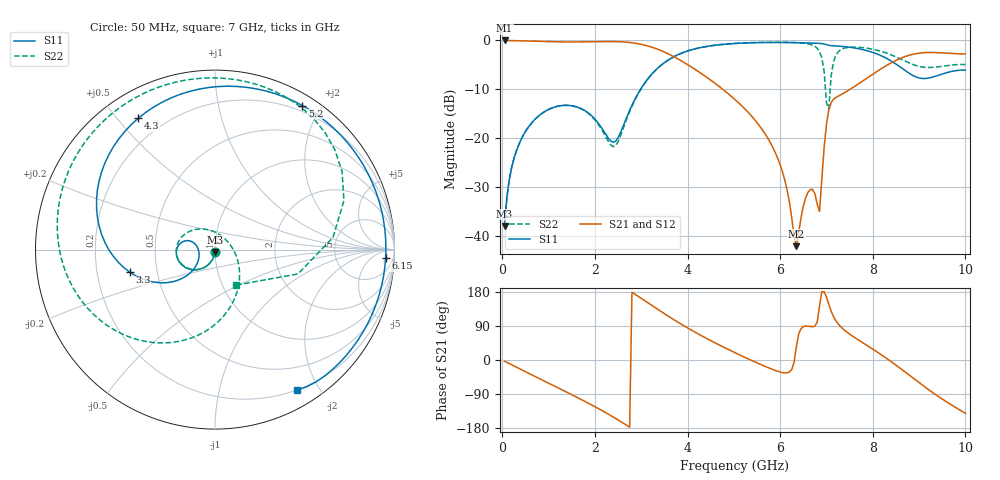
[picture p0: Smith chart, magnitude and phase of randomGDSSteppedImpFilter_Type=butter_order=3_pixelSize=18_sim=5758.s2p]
! freq	dB(S11)	phase(S11)	dB(S12)	phase(S12)
!  dB(S21)	phase(S21)	dB(S22)	phase(S22)
!S-par simulation data
#  GHz  S  DB  R 50
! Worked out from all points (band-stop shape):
!   200 points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, 50 MHz to 10 GHz, reference 50 ohm
!   highest |S21| = -0.01 dB at 50 MHz (marker M1); lowest = -42.1 dB at 6.35 GHz (marker M2)
!   |S21| within 3 dB of the highest: start of sweep to 3.637 GHz; 8.797 GHz to end of sweep
!   lowest |S11| = -38.0 dB at 50 MHz (marker M3), VSWR 1.03, Z = 49.9 - j1.26 ohm
!   |S11| at or under -10 dB: start of sweep to 2.986 GHz
!   |S22| runs from -38.1 to -0.4 dB; largest |S21 - S12| = 0
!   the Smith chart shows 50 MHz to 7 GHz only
!   S11 on the Smith chart (normalised r, x): 50 MHz: 1.00, -0.03; 3.3 GHz: 0.35, -0.12; 4.3 GHz: 0.11, +0.57; 5.2 GHz: 0.13, +1.77; 6.15 GHz: 20, -20; 7 GHz: 0.20, -1.72
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0.05  -38.01 -92.2  -0.01 -3.1  -0.01 -3.1  -38.13 -92.7
0.2  -26.16 -102.4  -0.03 -12.5  -0.03 -12.5  -26.10 -102.5
0.55  -17.94 -124.2  -0.12 -33.9  -0.12 -33.9  -17.95 -124.3
1.75  -14.19 169.4  -0.30 -107.0  -0.30 -107.0  -14.26 156.1
2.45  -20.61 -161.6  -0.24 -154.5  -0.24 -154.5  -21.53 29.7
3.3  -6.18 -165.1  -1.61 138.3  -1.61 138.3  -6.21 -101.6
3.4  -5.30 -172.5  -1.97 130.3  -1.97 130.3  -5.32 -110.2
4.3  -1.43 120.2  -6.80 64.2  -6.80 64.2  -1.42 -174.1
5.05  -0.62 68.7  -12.32 17.8  -12.32 17.8  -0.58 144.7
5.2  -0.55 58.7  -13.67 9.1  -13.67 9.1  -0.51 137.1
6.15  -0.43 -2.9  -30.62 -33.8  -30.62 -33.8  -0.39 88.2
6.35  -0.46 -15.8  -42.15 35.2  -42.15 35.2  -0.45 76.2
6.7  -0.54 -38.7  -30.54 87.8  -30.54 87.8  -0.97 46.6
6.85  -0.61 -49.1  -35.03 142.4  -35.03 142.4  -2.29 20.8
7  -0.86 -59.9  -17.16 166.0  -17.16 166.0  -12.76 -59.1
7.1  -1.07 -65.8  -12.77 129.3  -12.77 129.3  -7.32 132.7
7.3  -1.19 -78.8  -11.18 88.9  -11.18 88.9  -1.95 78.1
7.75  -1.81 -113.2  -8.52 48.2  -8.52 48.2  -1.44 38.4
8.35  -3.94 -174.0  -4.84 -0.1  -4.84 -0.1  -2.78 5.2
8.95  -7.54 88.3  -2.68 -55.1  -2.68 -55.1  -5.20 -12.1
9.45  -7.03 -0.3  -2.53 -99.0  -2.53 -99.0  -5.36 -17.8
10  -6.08 -63.2  -2.77 -140.6  -2.77 -140.6  -4.95 -35.1
